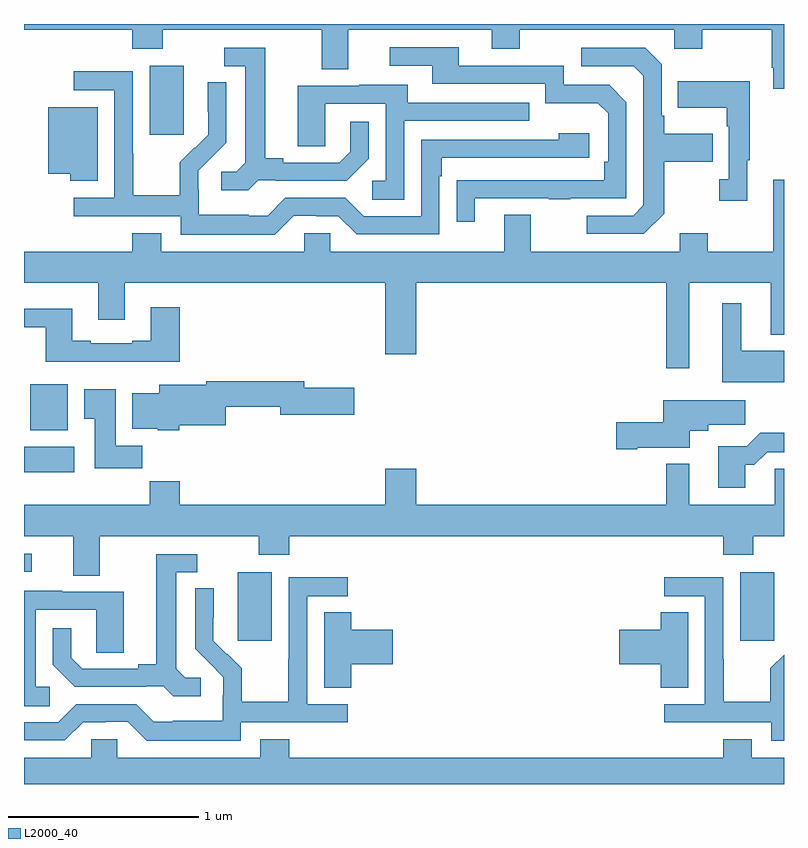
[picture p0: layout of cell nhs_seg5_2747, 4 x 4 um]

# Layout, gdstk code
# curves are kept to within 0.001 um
import gdstk
lib = gdstk.Library(unit=1e-6, precision=1e-09)
def R(c, l, rs):  # rectangles x0, y0, x1, y1
    for r in rs: c.add(gdstk.rectangle(r[:2], r[2:], *l))
def P(c, l, *ps):  # polygons
    for p in ps: c.add(gdstk.Polygon(p, *l))
L2000_40 = (2000, 40)

nhs_seg5_2747 = lib.new_cell('nhs_seg5_2747')
R(nhs_seg5_2747, L2000_40, [(272.126,845.553,272.305,845.914), (274.769,845.553,274.948,845.914), (271,845.916,271.042,846.012), (271,846.44,271.264,846.574), (271.034,846.662,271.231,846.904), (271.661,848.217,271.84,848.578)])
P(nhs_seg5_2747, L2000_40, [(275,848.799),(271,848.799),(271,848.768),(271.571,848.768),(271.571,848.669),(271.731,848.669),(271.731,848.768),(272.567,848.768),(272.567,848.56),(272.707,848.56),(272.707,848.768),(273.461,848.768),(273.461,848.669),(273.609,848.669),(273.609,848.768),(274.422,848.768),(274.422,848.669),(274.569,848.669),(274.569,848.768),(274.936,848.768),(274.936,848.569),(274.943,848.569),(274.943,848.457),(275,848.457)],
  [(273.373,847.881),(273.763,847.881),(273.763,847.876),(273.875,847.876),(273.875,847.881),(274.17,847.881),(274.17,848.388),(274.08,848.478),(273.84,848.478),(273.84,848.58),(273.289,848.58),(273.289,848.676),(272.925,848.676),(272.925,848.58),(273.149,848.58),(273.149,848.484),(273.744,848.484),(273.744,848.381),(274.021,848.381),(274.074,848.328),(274.074,848.074),(274.054,848.074),(274.054,847.977),(273.277,847.976),(273.277,847.758),(273.373,847.758)],
  [(272.232,847.977),(272.326,847.977),(272.326,847.974),(272.698,847.974),(272.814,848.09),(272.814,848.284),(272.717,848.284),(272.717,848.127),(272.66,848.07),(272.365,848.07),(272.365,848.093),(272.269,848.093),(272.269,848.673),(272.055,848.673),(272.055,848.577),(272.165,848.577),(272.165,848.069),(272.118,848.022),(272.037,848.022),(272.037,847.925),(272.18,847.925)],
  [(274.369,847.801),(274.369,848.074),(274.625,848.074),(274.625,848.221),(274.369,848.221),(274.369,848.317),(274.356,848.317),(274.356,848.586),(274.269,848.673),(273.933,848.673),(273.933,848.577),(274.209,848.577),(274.26,848.526),(274.26,847.845),(274.206,847.791),(273.963,847.791),(273.963,847.695),(274.263,847.695)],
  [(272.421,847.791),(272.537,847.791),(272.537,847.788),(272.655,847.788),(272.751,847.692),(273.186,847.692),(273.186,847.997),(273.199,847.997),(273.199,848.094),(273.976,848.094),(273.976,848.224),(273.815,848.224),(273.815,848.19),(273.09,848.19),(273.09,847.788),(272.787,847.788),(272.691,847.884),(272.376,847.884),(272.283,847.791),(272.183,847.791),(272.183,847.795),(271.92,847.795),(271.92,847.929),(271.918,847.929),(271.918,848.026),(272.064,848.174),(272.064,848.492),(271.968,848.492),(271.968,848.338),(271.97,848.338),(271.97,848.216),(271.899,848.145),(271.896,848.148),(271.819,848.071),(271.819,847.897),(271.575,847.897),(271.575,848.12),(271.572,848.12),(271.572,848.55),(271.263,848.55),(271.263,848.451),(271.476,848.451),(271.476,847.884),(271.263,847.884),(271.263,847.788),(271.824,847.788),(271.824,847.691),(272.321,847.691)],
  [(274.807,848.081),(274.819,848.081),(274.819,848.497),(274.441,848.497),(274.441,848.357),(274.698,848.357),(274.698,848.261),(274.71,848.261),(274.71,847.982),(274.659,847.982),(274.659,847.869),(274.807,847.869)],
  [(273,848.289),(273.659,848.289),(273.659,848.385),(273.019,848.385),(273.019,848.479),(272.765,848.479),(272.765,848.475),(272.441,848.475),(272.441,848.155),(272.586,848.155),(272.586,848.379),(272.904,848.379),(272.904,847.974),(272.832,847.974),(272.832,847.873),(273,847.873)],
  [(271.387,848.362),(271.127,848.362),(271.127,848.012),(271.244,848.012),(271.244,847.973),(271.387,847.973)],
  [(274.501,847.436),(274.931,847.436),(274.931,847.163),(275,847.163),(275,847.978),(274.943,847.978),(274.943,847.6),(274.599,847.6),(274.599,847.699),(274.451,847.699),(274.451,847.6),(273.667,847.6),(273.667,847.795),(273.527,847.795),(273.527,847.6),(272.613,847.6),(272.613,847.698),(272.475,847.698),(272.475,847.6),(271.723,847.6),(271.723,847.699),(271.571,847.699),(271.571,847.6),(271,847.6),(271,847.436),(271.391,847.436),(271.391,847.242),(271.531,847.242),(271.531,847.436),(272.9,847.436),(272.9,847.062),(273.064,847.062),(273.064,847.436),(274.38,847.436),(274.38,846.987),(274.501,846.987)],
  [(275,847.078),(274.774,847.078),(274.774,847.33),(274.676,847.33),(274.676,846.914),(275,846.914)],
  [(271.82,847.309),(271.667,847.309),(271.667,847.132),(271.571,847.132),(271.571,847.119),(271.351,847.119),(271.351,847.132),(271.255,847.132),(271.255,847.3),(271,847.3),(271,847.203),(271.115,847.203),(271.115,847.022),(271.82,847.022)],
  [(271.818,846.686),(272.062,846.686),(272.062,846.784),(272.348,846.784),(272.348,846.742),(272.737,846.742),(272.737,846.884),(272.476,846.884),(272.476,846.92),(271.958,846.92),(271.958,846.901),(271.712,846.901),(271.712,846.856),(271.571,846.856),(271.571,846.668),(271.704,846.668),(271.704,846.662),(271.818,846.662)],
  [(271.622,846.58),(271.483,846.58),(271.483,846.877),(271.316,846.877),(271.316,846.721),(271.373,846.721),(271.373,846.462),(271.622,846.462)],
  [(274.228,846.569),(274.504,846.569),(274.504,846.659),(274.6,846.659),(274.6,846.691),(274.795,846.691),(274.795,846.82),(274.364,846.82),(274.364,846.704),(274.116,846.704),(274.116,846.562),(274.228,846.562)],
  [(274.795,846.479),(274.844,846.479),(274.911,846.546),(275,846.546),(275,846.647),(274.874,846.647),(274.804,846.577),(274.655,846.577),(274.655,846.357),(274.795,846.357)],
  [(271.399,846.104),(272.236,846.104),(272.236,846.005),(272.396,846.005),(272.396,846.104),(274.679,846.104),(274.679,846.005),(274.839,846.005),(274.839,846.104),(275,846.104),(275,846.458),(274.95,846.458),(274.95,846.268),(274.501,846.268),(274.501,846.484),(274.38,846.484),(274.38,846.268),(273.064,846.268),(273.064,846.457),(272.9,846.457),(272.9,846.268),(271.82,846.268),(271.82,846.392),(271.663,846.392),(271.663,846.268),(271,846.268),(271,846.104),(271.259,846.104),(271.259,845.896),(271.399,845.896)],
  [(271.93,845.358),(271.848,845.358),(271.801,845.405),(271.801,845.913),(271.912,845.913),(271.912,846.009),(271.697,846.009),(271.697,845.429),(271.601,845.429),(271.601,845.406),(271.306,845.406),(271.249,845.463),(271.249,845.62),(271.152,845.62),(271.152,845.426),(271.268,845.31),(271.64,845.31),(271.64,845.313),(271.734,845.313),(271.786,845.261),(271.93,845.261)],
  [(272.142,845.124),(272.704,845.124),(272.704,845.22),(272.49,845.22),(272.49,845.787),(272.704,845.787),(272.704,845.886),(272.394,845.886),(272.394,845.456),(272.392,845.456),(272.392,845.233),(272.147,845.233),(272.147,845.407),(272.07,845.484),(272.067,845.481),(271.997,845.552),(271.998,845.828),(271.902,845.828),(271.902,845.51),(272.048,845.362),(272.048,845.265),(272.046,845.265),(272.046,845.131),(271.783,845.131),(271.783,845.127),(271.683,845.127),(271.59,845.22),(271.275,845.22),(271.179,845.124),(271,845.124),(271,845.028),(271.215,845.028),(271.311,845.124),(271.43,845.124),(271.43,845.127),(271.545,845.127),(271.645,845.027),(272.142,845.027)],
  [(275,845.48),(274.927,845.407),(274.927,845.233),(274.683,845.233),(274.683,845.456),(274.68,845.456),(274.68,845.886),(274.371,845.886),(274.371,845.787),(274.584,845.787),(274.584,845.22),(274.371,845.22),(274.371,845.124),(274.932,845.124),(274.932,845.027),(275,845.027)],
  [(271.135,845.31),(271.062,845.31),(271.062,845.715),(271.38,845.715),(271.38,845.491),(271.525,845.491),(271.525,845.811),(271.201,845.811),(271.201,845.815),(271,845.815),(271,845.209),(271.135,845.209)],
  [(274.495,845.702),(274.352,845.702),(274.352,845.612),(274.134,845.612),(274.134,845.429),(274.352,845.429),(274.352,845.305),(274.495,845.305)],
  [(272.723,845.429),(272.941,845.429),(272.941,845.612),(272.723,845.612),(272.723,845.702),(272.579,845.702),(272.579,845.305),(272.723,845.305)],
  [(272.396,845.035),(272.243,845.035),(272.243,844.936),(271.491,844.936),(271.491,845.034),(271.353,845.034),(271.353,844.936),(271,844.936),(271,844.799),(275,844.799),(275,844.936),(274.831,844.936),(274.831,845.035),(274.679,845.035),(274.679,844.936),(272.396,844.936)])

lib.write_gds('nhs_seg5_2747.gds')
